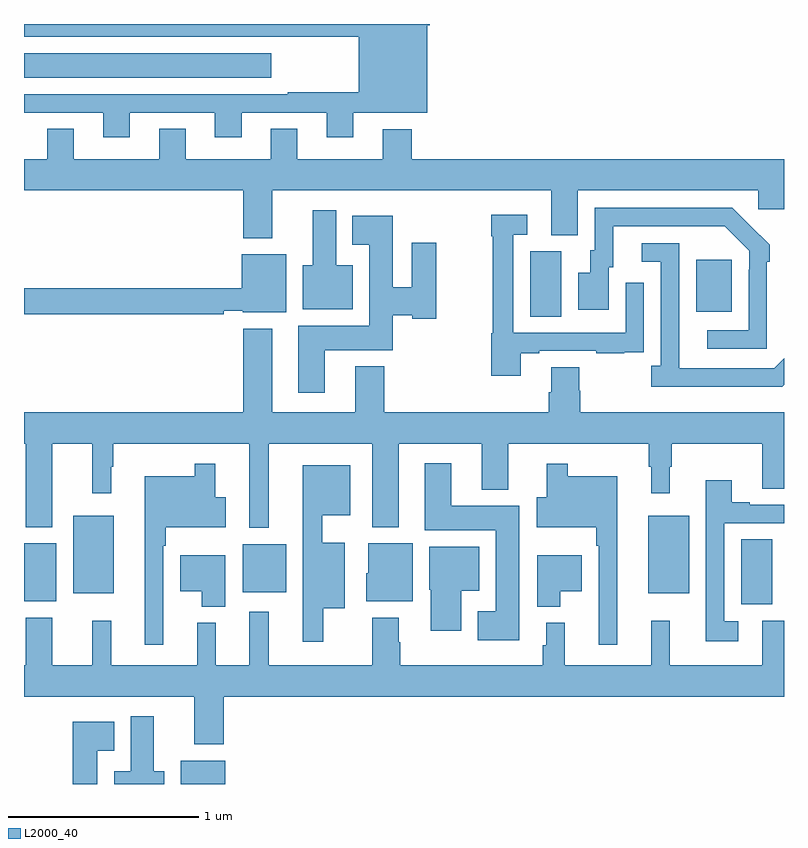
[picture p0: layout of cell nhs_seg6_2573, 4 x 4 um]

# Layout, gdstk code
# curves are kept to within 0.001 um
import gdstk
lib = gdstk.Library(unit=1e-6, precision=1e-09)
def R(c, l, rs):  # rectangles x0, y0, x1, y1
    for r in rs: c.add(gdstk.rectangle(r[:2], r[2:], *l))
def P(c, l, *ps):  # polygons
    for p in ps: c.add(gdstk.Polygon(p, *l))
L2000_40 = (2000, 40)

nhs_seg6_2573 = lib.new_cell('nhs_seg6_2573')
R(nhs_seg6_2573, L2000_40, [(263.825,989.5,264.058,989.623), (266.774,990.445,266.938,990.788), (263,990.461,263.17,990.766), (263.258,990.503,263.473,990.913), (266.285,990.503,266.5,990.913), (264.152,990.509,264.379,990.763), (265.664,991.96,265.828,992.304), (266.537,991.985,266.725,992.26), (263,993.218,264.301,993.346)])
P(nhs_seg6_2573, L2000_40, [(263.557,993.033),(264.005,993.033),(264.005,992.904),(264.145,992.904),(264.145,993.033),(264.593,993.033),(264.593,992.904),(264.733,992.904),(264.733,993.032),(265.123,993.032),(265.123,993.494),(265.136,993.494),(265.136,993.5),(263,993.5),(263,993.434),(264.761,993.434),(264.761,993.142),(264.388,993.142),(264.388,993.129),(263,993.129),(263,993.033),(263.417,993.033),(263.417,992.904),(263.557,992.904)],
  [(263.711,992.948),(263.711,992.788),(263.263,992.788),(263.263,992.948),(263.123,992.948),(263.123,992.788),(263,992.788),(263,992.624),(264.155,992.624),(264.155,992.372),(264.307,992.372),(264.307,992.624),(265.775,992.624),(265.775,992.389),(265.915,992.389),(265.915,992.624),(266.865,992.624),(266.865,992.526),(267,992.526),(267,992.788),(265.04,992.788),(265.04,992.947),(264.887,992.947),(264.887,992.788),(264.439,992.788),(264.439,992.948),(264.299,992.948),(264.299,992.788),(263.851,992.788),(263.851,992.948)],
  [(266.91,992.249),(266.925,992.249),(266.925,992.337),(266.728,992.532),(266.004,992.532),(266.004,992.31),(265.979,992.31),(265.979,992.191),(265.916,992.191),(265.916,991.995),(266.077,991.995),(266.077,992.22),(266.101,992.22),(266.101,992.436),(266.689,992.436),(266.817,992.307),(266.817,992.207),(266.814,992.207),(266.814,991.887),(266.595,991.887),(266.595,991.791),(266.91,991.791)],
  [(264.73,992.23),(264.643,992.23),(264.643,992.521),(264.521,992.521),(264.521,992.23),(264.467,992.23),(264.467,992),(264.73,992)],
  [(265.615,991.767),(265.711,991.767),(265.711,991.779),(266.011,991.779),(266.011,991.767),(266.159,991.767),(266.159,991.773),(266.261,991.773),(266.261,991.882),(266.262,991.882),(266.262,992.137),(266.166,992.137),(266.166,991.875),(265.575,991.875),(265.575,992.391),(265.648,992.391),(265.648,992.497),(265.459,992.497),(265.459,992.384),(265.467,992.384),(265.467,991.872),(265.459,991.872),(265.459,991.65),(265.615,991.65)],
  [(264.583,991.784),(264.94,991.784),(264.94,991.967),(265.044,991.967),(265.044,991.949),(265.17,991.949),(265.17,992.35),(265.04,992.35),(265.04,992.114),(264.94,992.114),(264.94,992.491),(264.728,992.491),(264.728,992.339),(264.818,992.339),(264.818,991.912),(264.443,991.912),(264.443,991.56),(264.583,991.56)],
  [(267,991.602),(267,991.74),(266.949,991.689),(266.449,991.689),(266.448,992.346),(266.25,992.346),(266.25,992.25),(266.352,992.25),(266.352,991.702),(266.301,991.702),(266.301,991.592),(266.99,991.592)],
  [(264.05,991.992),(264.15,991.992),(264.15,991.982),(264.379,991.982),(264.379,992.287),(264.146,992.287),(264.146,992.108),(263,992.108),(263,991.972),(264.05,991.972)],
  [(265.928,991.569),(265.923,991.569),(265.923,991.694),(265.775,991.694),(265.775,991.562),(265.763,991.562),(265.763,991.456),(264.896,991.456),(264.896,991.699),(264.743,991.699),(264.743,991.456),(264.307,991.456),(264.307,991.897),(264.155,991.897),(264.155,991.456),(263,991.456),(263,991.292),(263.009,991.292),(263.009,990.851),(263.149,990.851),(263.149,991.292),(263.36,991.292),(263.36,991.029),(263.458,991.029),(263.458,991.169),(263.47,991.169),(263.47,991.292),(264.185,991.292),(264.185,990.848),(264.289,990.848),(264.289,991.292),(264.833,991.292),(264.833,990.851),(264.973,990.851),(264.973,991.292),(265.409,991.292),(265.409,991.049),(265.549,991.049),(265.549,991.292),(266.289,991.292),(266.289,991.169),(266.3,991.169),(266.3,991.029),(266.399,991.029),(266.399,991.169),(266.41,991.169),(266.41,991.292),(266.885,991.292),(266.885,991.054),(267,991.054),(267,991.456),(265.928,991.456)],
  [(265.606,990.964),(265.249,990.964),(265.249,991.189),(265.109,991.189),(265.109,990.836),(265.484,990.836),(265.484,990.409),(265.389,990.409),(265.389,990.257),(265.606,990.257)],
  [(263.733,990.755),(263.746,990.755),(263.746,990.851),(264.061,990.851),(264.061,991.009),(264.007,991.009),(264.007,991.186),(263.898,991.186),(263.898,991.12),(263.636,991.12),(263.636,990.234),(263.733,990.234)],
  [(266.122,991.12),(265.861,991.12),(265.861,991.186),(265.751,991.186),(265.751,991.009),(265.698,991.009),(265.698,990.851),(266.013,990.851),(266.013,990.755),(266.025,990.755),(266.025,990.234),(266.122,990.234)],
  [(264.574,990.425),(264.688,990.425),(264.688,990.769),(264.571,990.769),(264.571,990.914),(264.718,990.914),(264.718,991.177),(264.467,991.177),(264.467,990.249),(264.574,990.249)],
  [(266.758,990.357),(266.685,990.357),(266.685,990.873),(267,990.873),(267,990.969),(266.821,990.969),(266.821,990.982),(266.725,990.982),(266.725,991.099),(266.589,991.099),(266.589,990.252),(266.758,990.252)],
  [(265.045,990.766),(264.812,990.766),(264.812,990.609),(264.8,990.609),(264.8,990.461),(265.045,990.461)],
  [(265.3,990.518),(265.396,990.518),(265.396,990.748),(265.133,990.748),(265.133,990.522),(265.142,990.522),(265.142,990.306),(265.3,990.306)],
  [(265.822,990.515),(265.936,990.515),(265.936,990.703),(265.7,990.703),(265.7,990.434),(265.822,990.434)],
  [(264.058,990.703),(263.822,990.703),(263.822,990.515),(263.936,990.515),(263.936,990.434),(264.058,990.434)],
  [(267,990.36),(266.885,990.36),(266.885,990.124),(266.399,990.124),(266.399,990.358),(266.3,990.358),(266.3,990.124),(265.847,990.124),(265.847,990.349),(265.748,990.349),(265.748,990.231),(265.729,990.231),(265.729,990.124),(264.981,990.124),(264.981,990.245),(264.973,990.245),(264.973,990.376),(264.833,990.376),(264.833,990.124),(264.289,990.124),(264.289,990.406),(264.185,990.406),(264.185,990.124),(264.01,990.124),(264.01,990.349),(263.912,990.349),(263.912,990.124),(263.459,990.124),(263.459,990.358),(263.36,990.358),(263.36,990.124),(263.149,990.124),(263.149,990.376),(263.009,990.376),(263.009,990.124),(263,990.124),(263,989.96),(263.897,989.96),(263.897,989.708),(264.05,989.708),(264.05,989.96),(267,989.96)],
  [(263.737,989.566),(263.683,989.566),(263.683,989.857),(263.561,989.857),(263.561,989.566),(263.474,989.566),(263.474,989.5),(263.737,989.5)],
  [(263.386,989.675),(263.476,989.675),(263.476,989.827),(263.257,989.827),(263.257,989.5),(263.386,989.5)])

lib.write_gds('nhs_seg6_2573.gds')
